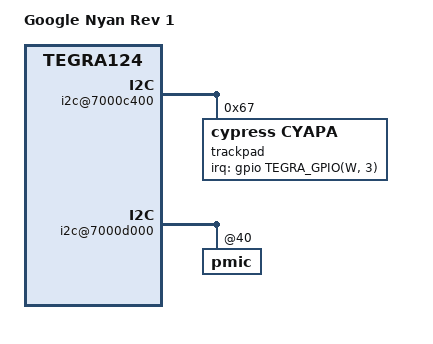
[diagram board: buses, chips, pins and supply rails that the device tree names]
/dts-v1/;

#include "tegra124.dtsi"
#include "tegra124-nyan.dtsi"

/ {
	model = "Google Nyan Rev 1";

	compatible = "google,nyan-rev1", "google,nyan", "nvidia,norrin",
			"nvidia,tegra124";

	pinmux {
		pinmux@0 {
			hp_det_l {
				nvidia,pins = "pi7";
				nvidia,function = "rsvd1";
				nvidia,pull = <0>;
				nvidia,tristate = <0>;
				nvidia,enable-input = <1>;
			};
			soc_warm_reset_l {
				nvidia,pins = "pi5";
				nvidia,function = "gmi";
				nvidia,pull = <2>;
				nvidia,tristate = <0>;
				nvidia,enable-input = <0>;
			};
		};
	};

	i2c@7000c400 {
		trackpad {
			compatible = "cypress,cyapa";
			reg = <0x67>;
			interrupt-parent = <&gpio>;
			interrupts = <TEGRA_GPIO(W, 3) GPIO_ACTIVE_HIGH>;
			nvidia,pmc-wakeup = <&pmc 1 11 2>;
			wakeup-source;
		};
	};

	i2c@7000d000 {
		pmic@40 {
			pinctrl@0 {
				gpio6 {
					pins = "gpio6";
					function = "clk32k-out";
					bias-pull-down;
				};
			};
		};
	};

	sdhci@700b0400 {
		cd-inverted;
	};

	pmc {
		nvidia,reset-gpio = <&gpio TEGRA_GPIO(I, 5) GPIO_ACTIVE_LOW>;
	};

	sound {
		nvidia,hp-det-gpios = <&gpio TEGRA_GPIO(I, 7) GPIO_ACTIVE_HIGH>;
		nvidia,mic-det-gpios = <&gpio TEGRA_GPIO(R, 7)
							GPIO_ACTIVE_HIGH>;
	};
};
